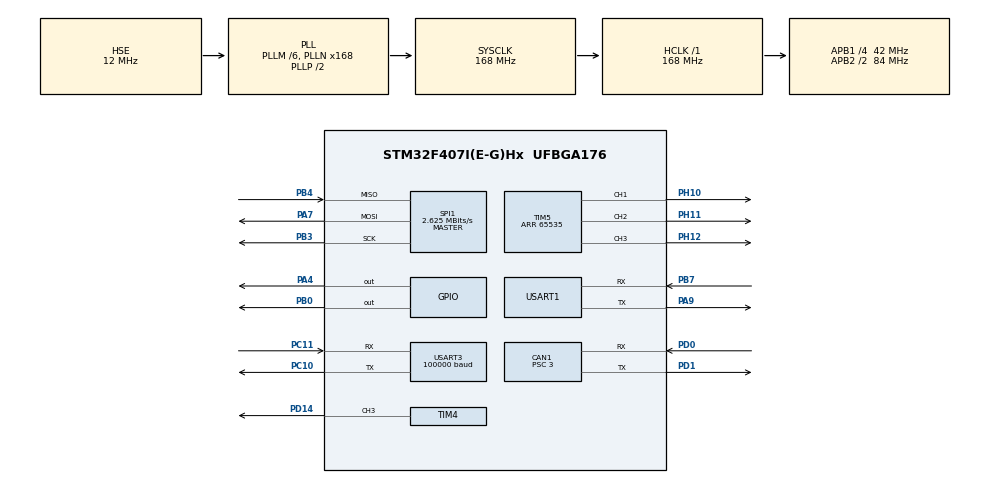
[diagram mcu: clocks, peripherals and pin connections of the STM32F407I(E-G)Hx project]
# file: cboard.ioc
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CAN1.ABOM=ENABLE
CAN1.AWUM=ENABLE
CAN1.BS1=CAN_BS1_10TQ
CAN1.BS2=CAN_BS2_3TQ
CAN1.CalculateBaudRate=1000000
CAN1.CalculateTimeBit=1000
CAN1.CalculateTimeQuantum=71.42857142857143
CAN1.NART=ENABLE
CAN1.Prescaler=3
Dma.Request0=USART3_RX
Dma.USART3_RX.0.Direction=DMA_PERIPH_TO_MEMORY
Dma.USART3_RX.0.FIFOMode=DMA_FIFOMODE_DISABLE
Dma.USART3_RX.0.Instance=DMA1_Stream1
Dma.USART3_RX.0.MemDataAlignment=DMA_MDATAALIGN_BYTE
Dma.USART3_RX.0.MemInc=DMA_MINC_ENABLE
Dma.USART3_RX.0.Mode=DMA_CIRCULAR
Dma.USART3_RX.0.PeriphDataAlignment=DMA_PDATAALIGN_BYTE
Dma.USART3_RX.0.PeriphInc=DMA_PINC_DISABLE
Dma.USART3_RX.0.Priority=DMA_PRIORITY_HIGH
FREERTOS.Tasks01=defaultTask,0,128,StartDefaultTask,Default,NULL,Dynamic,NULL,NULL;ledTask,-3,256,led_task,As external,NULL,Dynamic,NULL,NULL
Mcu.Family=STM32F4
Mcu.Name=STM32F407I(E-G)Hx
Mcu.Package=UFBGA176
NVIC.DMA1_Stream1_IRQn=true\:5\:0\:false\:false\:true\:true\:false\:true\:true
NVIC.PriorityGroup=NVIC_PRIORITYGROUP_4
NVIC.TIM8_TRG_COM_TIM14_IRQn=true\:15\:0\:true\:false\:true\:false\:false\:true\:true
NVIC.TimeBase=TIM8_TRG_COM_TIM14_IRQn
NVIC.TimeBaseIP=TIM14
NVIC.USART3_IRQn=true\:5\:0\:false\:false\:true\:true\:true\:true\:true
PA13.Mode=Serial_Wire
PA13.Signal=SYS_JTMS-SWDIO
PA14.Mode=Serial_Wire
PA14.Signal=SYS_JTCK-SWCLK
PA4.GPIO_Speed=GPIO_SPEED_FREQ_HIGH
PA4.PinState=GPIO_PIN_SET
PA4.Signal=GPIO_Output
PA7.Mode=Full_Duplex_Master
PA7.Signal=SPI1_MOSI
PA9.Mode=Asynchronous
PA9.Signal=USART1_TX
PB0.GPIO_Speed=GPIO_SPEED_FREQ_HIGH
PB0.PinState=GPIO_PIN_SET
PB0.Signal=GPIO_Output
PB3.Mode=Full_Duplex_Master
PB3.Signal=SPI1_SCK
PB4.Mode=Full_Duplex_Master
PB4.Signal=SPI1_MISO
PB7.Mode=Asynchronous
PB7.Signal=USART1_RX
PC10.Mode=Asynchronous
PC10.Signal=USART3_TX
PC11.Mode=Asynchronous
PC11.Signal=USART3_RX
PD0.Mode=CAN_Activate
PD0.Signal=CAN1_RX
PD1.Mode=CAN_Activate
PD1.Signal=CAN1_TX
PD14.Signal=S_TIM4_CH3
PH0-OSC_IN.Mode=HSE-External-Oscillator
PH0-OSC_IN.Signal=RCC_OSC_IN
PH1-OSC_OUT.Mode=HSE-External-Oscillator
PH1-OSC_OUT.Signal=RCC_OSC_OUT
PH10.GPIO_PuPd=GPIO_PULLUP
PH10.GPIO_Speed=GPIO_SPEED_FREQ_HIGH
PH10.Signal=S_TIM5_CH1
PH11.GPIO_PuPd=GPIO_PULLUP
PH11.GPIO_Speed=GPIO_SPEED_FREQ_HIGH
PH11.Signal=S_TIM5_CH2
PH12.GPIO_PuPd=GPIO_PULLUP
PH12.GPIO_Speed=GPIO_SPEED_FREQ_HIGH
PH12.Signal=S_TIM5_CH3
ProjectManager.HeapSize=0x200
ProjectManager.StackSize=0x400
ProjectManager.TargetToolchain=CMake
RCC.48MHZClocksFreq_Value=48000000
RCC.AHBFreq_Value=168000000
RCC.APB1CLKDivider=RCC_HCLK_DIV4
RCC.APB1Freq_Value=42000000
RCC.APB1TimFreq_Value=84000000
RCC.APB2CLKDivider=RCC_HCLK_DIV2
RCC.APB2Freq_Value=84000000
RCC.APB2TimFreq_Value=168000000
RCC.CortexFreq_Value=168000000
RCC.HCLKFreq_Value=168000000
RCC.HSE_VALUE=12000000
RCC.HSI_VALUE=16000000
RCC.LSE_VALUE=32768
RCC.PLLM=6
RCC.PLLN=168
RCC.PLLQ=7
RCC.PLLSourceVirtual=RCC_PLLSOURCE_HSE
RCC.SYSCLKFreq_VALUE=168000000
RCC.SYSCLKSource=RCC_SYSCLKSOURCE_PLLCLK
RCC.VCOOutputFreq_Value=336000000
SH.S_TIM4_CH3.0=TIM4_CH3,PWM Generation3 CH3
SH.S_TIM5_CH1.0=TIM5_CH1,PWM Generation1 CH1
SH.S_TIM5_CH2.0=TIM5_CH2,PWM Generation2 CH2
SH.S_TIM5_CH3.0=TIM5_CH3,PWM Generation3 CH3
SPI1.BaudRatePrescaler=SPI_BAUDRATEPRESCALER_32
SPI1.CalculateBaudRate=2.625 MBits/s
SPI1.Direction=SPI_DIRECTION_2LINES
SPI1.Mode=SPI_MODE_MASTER
SPI1.VirtualType=VM_MASTER
TIM4.AutoReloadPreload=TIM_AUTORELOAD_PRELOAD_ENABLE
TIM4.Channel-PWM\ Generation3\ CH3=TIM_CHANNEL_3
TIM4.Pulse-PWM\ Generation3\ CH3=125
TIM5.Channel-PWM\ Generation1\ CH1=TIM_CHANNEL_1
TIM5.Channel-PWM\ Generation2\ CH2=TIM_CHANNEL_2
TIM5.Channel-PWM\ Generation3\ CH3=TIM_CHANNEL_3
TIM5.Period=65535
USART1.VirtualMode=VM_ASYNC
USART3.BaudRate=100000
USART3.Parity=PARITY_EVEN
USART3.VirtualMode=VM_ASYNC
USART3.WordLength=WORDLENGTH_9B
VP_FREERTOS_VS_CMSIS_V1.Mode=CMSIS_V1
VP_RNG_VS_RNG.Mode=RNG_Activate
VP_SYS_VS_tim14.Mode=TIM14
VP_TIM4_VS_ClockSourceINT.Mode=Internal
board=custom

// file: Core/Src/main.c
/* USER CODE BEGIN Header */
/**
  ******************************************************************************
  * @file           : main.c
  * @brief          : Main program body
  ******************************************************************************
  * @attention
  *
  * Copyright (c) 2026 STMicroelectronics.
  * All rights reserved.
  *
  * This software is licensed under terms that can be found in the LICENSE file
  * in the root directory of this software component.
  * If no LICENSE file comes with this software, it is provided AS-IS.
  *
  ******************************************************************************
  */
/* USER CODE END Header */
#include "main.h"
#include "cmsis_os.h"
#include "can.h"
#include "dma.h"
#include "rng.h"
#include "spi.h"
#include "tim.h"
#include "usart.h"
#include "gpio.h"

void SystemClock_Config(void);
void MX_FREERTOS_Init(void);

int main(void)
{

  /* MCU Configuration--------------------------------------------------------*/

  /* Reset of all peripherals, Initializes the Flash interface and the Systick. */
  HAL_Init();

  /* Configure the system clock */
  SystemClock_Config();

  /* Initialize all configured peripherals */
  MX_GPIO_Init();
  MX_DMA_Init();
  MX_SPI1_Init();
  MX_TIM4_Init();
  MX_TIM5_Init();
  MX_USART1_UART_Init();
  MX_USART3_UART_Init();
  MX_CAN1_Init();
  MX_RNG_Init();

  /* Call init function for freertos objects (in cmsis_os2.c) */
  MX_FREERTOS_Init();

  /* Start scheduler */
  osKernelStart();

  /* We should never get here as control is now taken by the scheduler */

  /* Infinite loop */
  while (1)
  {

  }
}

void SystemClock_Config(void)
{
  RCC_OscInitTypeDef RCC_OscInitStruct = {0};
  RCC_ClkInitTypeDef RCC_ClkInitStruct = {0};

  /** Configure the main internal regulator output voltage
  */
  __HAL_RCC_PWR_CLK_ENABLE();
  __HAL_PWR_VOLTAGESCALING_CONFIG(PWR_REGULATOR_VOLTAGE_SCALE1);

  /** Initializes the RCC Oscillators according to the specified parameters
  * in the RCC_OscInitTypeDef structure.
  */
  RCC_OscInitStruct.OscillatorType = RCC_OSCILLATORTYPE_HSE;
  RCC_OscInitStruct.HSEState = RCC_HSE_ON;
  RCC_OscInitStruct.PLL.PLLState = RCC_PLL_ON;
  RCC_OscInitStruct.PLL.PLLSource = RCC_PLLSOURCE_HSE;
  RCC_OscInitStruct.PLL.PLLM = 6;
  RCC_OscInitStruct.PLL.PLLN = 168;
  RCC_OscInitStruct.PLL.PLLP = RCC_PLLP_DIV2;
  RCC_OscInitStruct.PLL.PLLQ = 7;
  if (HAL_RCC_OscConfig(&RCC_OscInitStruct) != HAL_OK)
  {
    Error_Handler();
  }

  /** Initializes the CPU, AHB and APB buses clocks
  */
  RCC_ClkInitStruct.ClockType = RCC_CLOCKTYPE_HCLK|RCC_CLOCKTYPE_SYSCLK
                              |RCC_CLOCKTYPE_PCLK1|RCC_CLOCKTYPE_PCLK2;
  RCC_ClkInitStruct.SYSCLKSource = RCC_SYSCLKSOURCE_PLLCLK;
  RCC_ClkInitStruct.AHBCLKDivider = RCC_SYSCLK_DIV1;
  RCC_ClkInitStruct.APB1CLKDivider = RCC_HCLK_DIV4;
  RCC_ClkInitStruct.APB2CLKDivider = RCC_HCLK_DIV2;

  if (HAL_RCC_ClockConfig(&RCC_ClkInitStruct, FLASH_LATENCY_5) != HAL_OK)
  {
    Error_Handler();
  }
}

void HAL_TIM_PeriodElapsedCallback(TIM_HandleTypeDef *htim)
{
  if (htim->Instance == TIM14)
  {
    HAL_IncTick();
  }
}

void Error_Handler(void)
{
  __disable_irq();
  while (1)
  {
  }
}

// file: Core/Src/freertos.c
/* USER CODE BEGIN Header */
/**
  ******************************************************************************
  * File Name          : freertos.c
  * Description        : Code for freertos applications
  ******************************************************************************
  * @attention
  *
  * Copyright (c) 2026 STMicroelectronics.
  * All rights reserved.
  *
  * This software is licensed under terms that can be found in the LICENSE file
  * in the root directory of this software component.
  * If no LICENSE file comes with this software, it is provided AS-IS.
  *
  ******************************************************************************
  */
/* USER CODE END Header */

#include "FreeRTOS.h"
#include "task.h"
#include "main.h"
#include "cmsis_os.h"

/* USER CODE BEGIN Variables */
osThreadId buzzerTaskHandle;
osThreadId imuTaskHandle;
osThreadId plotterTaskHandle;
osThreadId uartTaskHandle;
osThreadId linkageTaskHandle;

/* USER CODE END Variables */
osThreadId defaultTaskHandle;
osThreadId ledTaskHandle;

/* USER CODE BEGIN FunctionPrototypes */
extern void buzzer_task(void const * argument);
extern void imu_task(void const * argument);
extern void plotter_task(void const * argument);
extern void uart_task(void const * argument);
extern void linkage_task(void const * argument);

/* USER CODE END FunctionPrototypes */

void StartDefaultTask(void const * argument);
extern void led_task(void const * argument);

void MX_FREERTOS_Init(void); /* (MISRA C 2004 rule 8.1) */

/* GetIdleTaskMemory prototype (linked to static allocation support) */
void vApplicationGetIdleTaskMemory( StaticTask_t **ppxIdleTaskTCBBuffer, StackType_t **ppxIdleTaskStackBuffer, uint32_t *pulIdleTaskStackSize );

/* USER CODE BEGIN GET_IDLE_TASK_MEMORY */
static StaticTask_t xIdleTaskTCBBuffer;
static StackType_t xIdleStack[configMINIMAL_STACK_SIZE];

void vApplicationGetIdleTaskMemory( StaticTask_t **ppxIdleTaskTCBBuffer, StackType_t **ppxIdleTaskStackBuffer, uint32_t *pulIdleTaskStackSize )
{
  *ppxIdleTaskTCBBuffer = &xIdleTaskTCBBuffer;
  *ppxIdleTaskStackBuffer = &xIdleStack[0];
  *pulIdleTaskStackSize = configMINIMAL_STACK_SIZE;
  /* place for user code */
}
/* USER CODE END GET_IDLE_TASK_MEMORY */

void MX_FREERTOS_Init(void) {

  /* Create the thread(s) */
  /* definition and creation of defaultTask */
  osThreadDef(defaultTask, StartDefaultTask, osPriorityNormal, 0, 128);
  defaultTaskHandle = osThreadCreate(osThread(defaultTask), NULL);

  /* definition and creation of ledTask */
  osThreadDef(ledTask, led_task, osPriorityIdle, 0, 256);
  ledTaskHandle = osThreadCreate(osThread(ledTask), NULL);

  /* USER CODE BEGIN RTOS_THREADS */

  osThreadDef(buzzerTask, buzzer_task, osPriorityNormal, 0, 128);
  buzzerTaskHandle = osThreadCreate(osThread(buzzerTask), NULL);

  osThreadDef(imuTask, imu_task, osPriorityAboveNormal, 0, 512);
  imuTaskHandle = osThreadCreate(osThread(imuTask), NULL);

  osThreadDef(uartTask, uart_task, osPriorityNormal, 0, 256);
  uartTaskHandle = osThreadCreate(osThread(uartTask), NULL);

  osThreadDef(linkageTask, linkage_task, osPriorityHigh, 0, 512);
  linkageTaskHandle = osThreadCreate(osThread(linkageTask), NULL);
  /* add threads, ... */
  /* USER CODE END RTOS_THREADS */

}

void StartDefaultTask(void const * argument)
{
  for(;;)
  {
    osDelay(1);
  }
}
